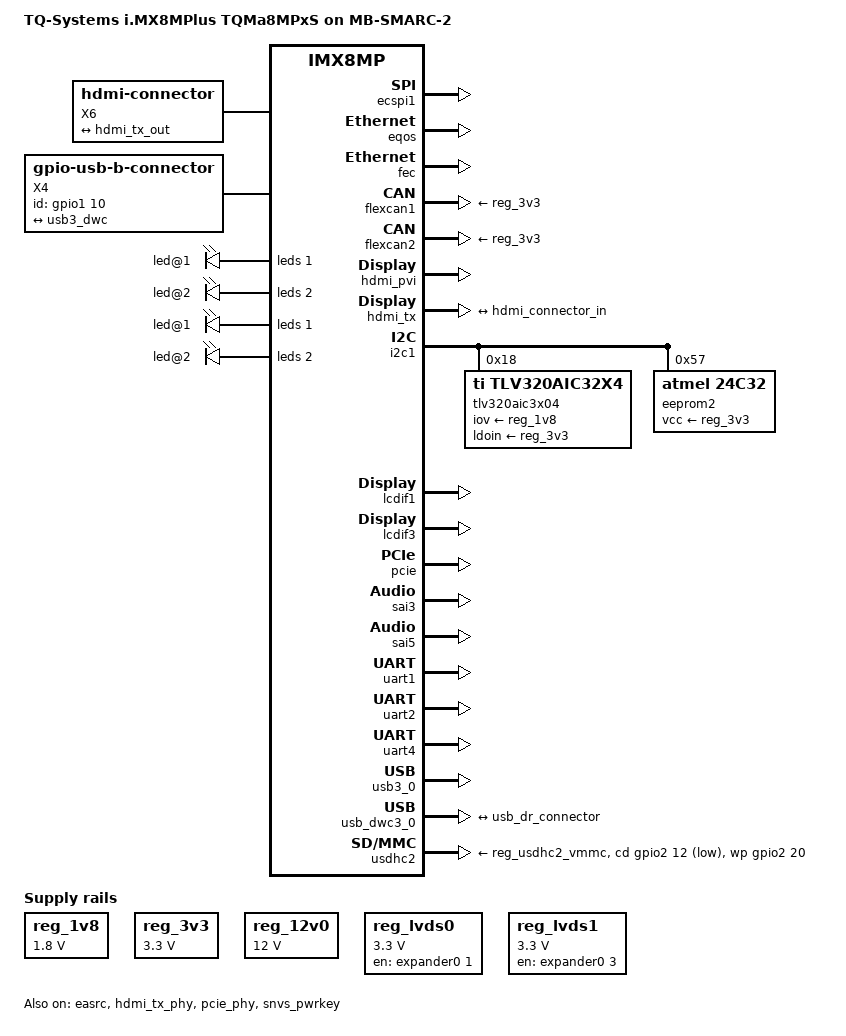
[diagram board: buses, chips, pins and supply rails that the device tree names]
// SPDX-License-Identifier: GPL-2.0-or-later OR MIT
/*
 * Copyright 2025-2026 TQ-Systems GmbH <linux@ew.tq-group.com>,
 * D-82229 Seefeld, Germany.
 * Author: Paul Gerber
 */

/dts-v1/;

#include <dt-bindings/leds/common.h>
#include "imx8mp-tqma8mpqs.dtsi"

/ {
	model = "TQ-Systems i.MX8MPlus TQMa8MPxS on MB-SMARC-2";
	compatible = "tq,imx8mp-tqma8mpqs-mb-smarc-2", "tq,imx8mp-tqma8mpqs", "fsl,imx8mp";
	chassis-type = "embedded";

	chosen {
		stdout-path = &uart3;
	};

	aliases {
		ethernet0 = &eqos;
		ethernet1 = &fec;
		mmc0 = &usdhc3;
		mmc1 = &usdhc2;
		rtc0 = &pcf85063;
		rtc1 = &snvs_rtc;
		spi0 = &flexspi;
		spi1 = &ecspi1;
		spi2 = &ecspi2;
		spi3 = &ecspi3;
	};

	backlight_lvds0: backlight-lvds0 {
		compatible = "pwm-backlight";
		pwms = <&pwm3 0 100000 0>;
		brightness-levels = <0 4 8 16 32 64 128 255>;
		default-brightness-level = <7>;
		enable-gpios = <&expander0 0 GPIO_ACTIVE_HIGH>;
		power-supply = <&reg_12v0>;
		status = "disabled";
	};

	backlight_lvds1: backlight-lvds1 {
		compatible = "pwm-backlight";
		pwms = <&pwm2 0 100000 0>;
		brightness-levels = <0 4 8 16 32 64 128 255>;
		default-brightness-level = <7>;
		enable-gpios = <&expander0 2 GPIO_ACTIVE_HIGH>;
		power-supply = <&reg_12v0>;
		status = "disabled";
	};

	hdmi-connector {
		compatible = "hdmi-connector";
		label = "X6";
		type = "a";

		port {
			hdmi_connector_in: endpoint {
				remote-endpoint = <&hdmi_tx_out>;
			};
		};
	};

	panel_lvds0: panel-lvds0 {
		/*
		 * Display is not fixed, so compatible has to be added from
		 * DT overlay
		 */
		backlight = <&backlight_lvds0>;
		power-supply = <&reg_lvds0>;
		status = "disabled";

		port {
			panel_in_lvds0: endpoint {
				remote-endpoint = <&ldb_lvds_ch0>;
			};
		};
	};

	panel_lvds1: panel-lvds1 {
		/*
		 * Display is not fixed, so compatible has to be added from
		 * DT overlay
		 */
		backlight = <&backlight_lvds1>;
		power-supply = <&reg_lvds1>;
		status = "disabled";

		port {
			panel_in_lvds1: endpoint {
				remote-endpoint = <&ldb_lvds_ch1>;
			};
		};
	};

	reg_1v8: regulator-1v8 {
		compatible = "regulator-fixed";
		regulator-name = "1V8";
		regulator-min-microvolt = <1800000>;
		regulator-max-microvolt = <1800000>;
		regulator-always-on;
	};

	reg_3v3: regulator-3v3 {
		compatible = "regulator-fixed";
		regulator-name = "3V3";
		regulator-min-microvolt = <3300000>;
		regulator-max-microvolt = <3300000>;
		regulator-always-on;
	};

	reg_12v0: regulator-12v0 {
		compatible = "regulator-fixed";
		regulator-name = "12V0";
		regulator-min-microvolt = <12000000>;
		regulator-max-microvolt = <12000000>;
		regulator-always-on;
	};

	reg_lvds0: regulator-lvds0 {
		compatible = "regulator-fixed";
		regulator-name = "LCD0_VDD_EN";
		regulator-min-microvolt = <3300000>;
		regulator-max-microvolt = <3300000>;
		gpio = <&expander0 1 GPIO_ACTIVE_HIGH>;
		enable-active-high;
	};

	reg_lvds1: regulator-lvds1 {
		compatible = "regulator-fixed";
		regulator-name = "LCD1_VDD_EN";
		regulator-min-microvolt = <3300000>;
		regulator-max-microvolt = <3300000>;
		gpio = <&expander0 3 GPIO_ACTIVE_HIGH>;
		enable-active-high;
	};

	reserved-memory {
		#address-cells = <2>;
		#size-cells = <2>;
		ranges;

		/* global autoconfigured region for contiguous allocations */
		linux,cma {
			compatible = "shared-dma-pool";
			reusable;
			size = <0 0x38000000>;
			alloc-ranges = <0 0x40000000 0 0x78000000>;
			linux,cma-default;
		};
	};

	sound {
		compatible = "fsl,imx-audio-tlv320aic32x4";
		model = "tqm-tlv320aic32";
		audio-asrc = <&easrc>;
		audio-cpu = <&sai5>;
		audio-codec = <&tlv320aic3x04>;
		audio-routing =
			"IN3_L", "Mic Jack",
			"Mic Jack", "Mic Bias",
			"IN1_L", "Line In Jack",
			"IN1_R", "Line In Jack",
			"Line Out Jack", "LOL",
			"Line Out Jack", "LOR";
	};

	usb-connector {
		compatible = "gpio-usb-b-connector", "usb-b-connector";
		type = "micro";
		label = "X4";
		pinctrl-names = "default";
		pinctrl-0 = <&pinctrl_usbcon0>;
		id-gpios = <&gpio1 10 GPIO_ACTIVE_HIGH>;

		port {
			usb_dr_connector: endpoint {
				remote-endpoint = <&usb3_dwc>;
			};
		};
	};
};

&easrc {
	status = "okay";
};

&ecspi1 {
	status = "okay";
};

&eqos {
	status = "okay";
};

&ethphy0 {
	leds {
		#address-cells = <1>;
		#size-cells = <0>;

		led@1 {
			reg = <1>;
			color = <LED_COLOR_ID_GREEN>;
			function = LED_FUNCTION_LAN;
			function-enumerator = <0>;
			default-state = "keep";
		};

		led@2 {
			reg = <2>;
			color = <LED_COLOR_ID_AMBER>;
			function = LED_FUNCTION_LAN;
			function-enumerator = <0>;
			default-state = "keep";
		};
	};
};

&ethphy3 {
	leds {
		#address-cells = <1>;
		#size-cells = <0>;

		led@1 {
			reg = <1>;
			color = <LED_COLOR_ID_GREEN>;
			function = LED_FUNCTION_LAN;
			function-enumerator = <0>;
			default-state = "keep";
		};

		led@2 {
			reg = <2>;
			color = <LED_COLOR_ID_AMBER>;
			function = LED_FUNCTION_LAN;
			function-enumerator = <0>;
			default-state = "keep";
		};
	};
};

&fec {
	status = "okay";
};

&flexcan1 {
	xceiver-supply = <&reg_3v3>;
	status = "okay";
};

&flexcan2 {
	xceiver-supply = <&reg_3v3>;
	status = "okay";
};

&hdmi_pvi {
	status = "okay";
};

&hdmi_tx {
	status = "okay";

	ports {
		port@1 {
			hdmi_tx_out: endpoint {
				remote-endpoint = <&hdmi_connector_in>;
			};
		};
	};
};

&hdmi_tx_phy {
	status = "okay";
};

&i2c1 {
	tlv320aic3x04: audio-codec@18 {
		compatible = "ti,tlv320aic32x4";
		reg = <0x18>;
		clock-names = "mclk";
		clocks = <&audio_blk_ctrl IMX8MP_CLK_AUDIOMIX_SAI5_MCLK1>;
		iov-supply = <&reg_1v8>;
		ldoin-supply = <&reg_3v3>;
		assigned-clocks = <&clk IMX8MP_CLK_SAI5>;
		assigned-clock-parents = <&clk IMX8MP_AUDIO_PLL1_OUT>;
		assigned-clock-rates = <12288000>;
	};

	eeprom2: eeprom@57 {
		compatible = "atmel,24c32";
		reg = <0x57>;
		pagesize = <32>;
		vcc-supply = <&reg_3v3>;
	};
};

&ldb_lvds_ch0 {
	remote-endpoint = <&panel_in_lvds0>;
};

&ldb_lvds_ch1 {
	remote-endpoint = <&panel_in_lvds1>;
};

&lcdif1 {
	status = "okay";
};

&lcdif3 {
	status = "okay";
};

&pcie_phy {
	fsl,clkreq-unsupported;
	status = "okay";
};

&pcie {
	status = "okay";
};

&reg_usdhc2_vmmc {
	startup-delay-us = <100>;
	off-on-delay-us = <200000>;
	status = "okay";
};

&reg_usdhc2_vqmmc {
	status = "okay";
};

&sai3 {
	status = "okay";
};

&sai5 {
	status = "okay";
};

&snvs_pwrkey {
	status = "okay";
};

&uart1 {
	status = "okay";
};

&uart2 {
	status = "okay";
};

&uart4 {
	status = "okay";
};

&usb3_0 {
	status = "okay";
};

&usb_dwc3_0 {
	status = "okay";

	port {
		usb3_dwc: endpoint {
			remote-endpoint = <&usb_dr_connector>;
		};
	};
};

&usdhc2 {
	cd-gpios = <&gpio2 12 GPIO_ACTIVE_LOW>;
	wp-gpios = <&gpio2 20 GPIO_ACTIVE_HIGH>;
	vmmc-supply = <&reg_usdhc2_vmmc>;
	no-mmc;
	no-sdio;
	status = "okay";
};
